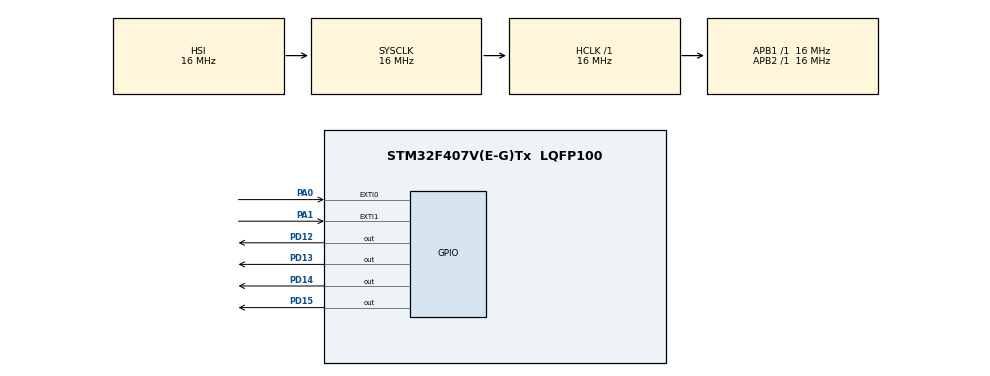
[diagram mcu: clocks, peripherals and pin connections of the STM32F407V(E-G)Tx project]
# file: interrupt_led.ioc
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Mcu.Family=STM32F4
Mcu.Name=STM32F407V(E-G)Tx
Mcu.Package=LQFP100
NVIC.EXTI0_IRQn=true\:0\:0\:false\:false\:true\:true\:true\:true
NVIC.EXTI1_IRQn=true\:0\:0\:false\:false\:true\:true\:true\:true
NVIC.PriorityGroup=NVIC_PRIORITYGROUP_4
PA0-WKUP.GPIO_PuPd=GPIO_PULLDOWN
PA0-WKUP.Signal=GPXTI0
PA1.GPIO_ModeDefaultEXTI=GPIO_MODE_IT_RISING
PA1.GPIO_PuPd=GPIO_PULLDOWN
PA1.Signal=GPXTI1
PA13.Mode=Serial_Wire
PA13.Signal=SYS_JTMS-SWDIO
PA14.Mode=Serial_Wire
PA14.Signal=SYS_JTCK-SWCLK
PD12.GPIO_Speed=GPIO_SPEED_FREQ_VERY_HIGH
PD12.Signal=GPIO_Output
PD13.GPIO_Speed=GPIO_SPEED_FREQ_VERY_HIGH
PD13.Signal=GPIO_Output
PD14.GPIO_Speed=GPIO_SPEED_FREQ_VERY_HIGH
PD14.Signal=GPIO_Output
PD15.GPIO_Speed=GPIO_SPEED_FREQ_VERY_HIGH
PD15.Signal=GPIO_Output
PH0-OSC_IN.Mode=HSE-External-Oscillator
PH0-OSC_IN.Signal=RCC_OSC_IN
PH1-OSC_OUT.Mode=HSE-External-Oscillator
PH1-OSC_OUT.Signal=RCC_OSC_OUT
ProjectManager.HeapSize=0x200
ProjectManager.StackSize=0x400
ProjectManager.TargetToolchain=STM32CubeIDE
RCC.AHBFreq_Value=16000000
RCC.APB1Freq_Value=16000000
RCC.APB2Freq_Value=16000000
RCC.CortexFreq_Value=16000000
RCC.HSE_VALUE=25000000
RCC.HSI_VALUE=16000000
RCC.LSE_VALUE=32768
RCC.SYSCLKFreq_VALUE=16000000
RCC.VCOOutputFreq_Value=192000000
board=custom

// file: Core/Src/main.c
/* USER CODE BEGIN Header */
/**
  ******************************************************************************
  * @file           : main.c
  * @brief          : Main program body
  ******************************************************************************
  * @attention
  *
  * Copyright (c) 2022 STMicroelectronics.
  * All rights reserved.
  *
  * This software is licensed under terms that can be found in the LICENSE file
  * in the root directory of this software component.
  * If no LICENSE file comes with this software, it is provided AS-IS.
  *
  ******************************************************************************
  */
/* USER CODE END Header */
#include "main.h"

/* USER CODE BEGIN PV */
int i=0;
int count = 0;

/* USER CODE END PV */

void SystemClock_Config(void);
static void MX_GPIO_Init(void);

/* USER CODE BEGIN 0 */
void HAL_GPIO_EXTI_Callback(uint16_t GPIO_Pin){
			i++;
				if(i==1)
				{
					count=1000;
				}
				else if(i==2)
				{
					count = 750;
				}
				else if(i==3)
				{
					count = 500;
				}
				else{
					count=250;
					i=0;
				}
	  }

/* USER CODE END 0 */

int main(void)
{

  /* MCU Configuration--------------------------------------------------------*/

  /* Reset of all peripherals, Initializes the Flash interface and the Systick. */
  HAL_Init();

  /* Configure the system clock */
  SystemClock_Config();

  /* Initialize all configured peripherals */
  MX_GPIO_Init();

  /* Infinite loop */
  while (1)
  {

    /* USER CODE BEGIN 3 */
	  while (1)
	   {
	 	  HAL_GPIO_TogglePin(GPIOD, GPIO_PIN_All);
	 	  HAL_Delay(count);

	   }

  /* USER CODE END 3 */
}
}

void SystemClock_Config(void)
{
  RCC_OscInitTypeDef RCC_OscInitStruct = {0};
  RCC_ClkInitTypeDef RCC_ClkInitStruct = {0};

  /** Configure the main internal regulator output voltage
  */
  __HAL_RCC_PWR_CLK_ENABLE();
  __HAL_PWR_VOLTAGESCALING_CONFIG(PWR_REGULATOR_VOLTAGE_SCALE1);

  /** Initializes the RCC Oscillators according to the specified parameters
  * in the RCC_OscInitTypeDef structure.
  */
  RCC_OscInitStruct.OscillatorType = RCC_OSCILLATORTYPE_HSI;
  RCC_OscInitStruct.HSIState = RCC_HSI_ON;
  RCC_OscInitStruct.HSICalibrationValue = RCC_HSICALIBRATION_DEFAULT;
  RCC_OscInitStruct.PLL.PLLState = RCC_PLL_NONE;
  if (HAL_RCC_OscConfig(&RCC_OscInitStruct) != HAL_OK)
  {
    Error_Handler();
  }

  /** Initializes the CPU, AHB and APB buses clocks
  */
  RCC_ClkInitStruct.ClockType = RCC_CLOCKTYPE_HCLK|RCC_CLOCKTYPE_SYSCLK
                              |RCC_CLOCKTYPE_PCLK1|RCC_CLOCKTYPE_PCLK2;
  RCC_ClkInitStruct.SYSCLKSource = RCC_SYSCLKSOURCE_HSI;
  RCC_ClkInitStruct.AHBCLKDivider = RCC_SYSCLK_DIV1;
  RCC_ClkInitStruct.APB1CLKDivider = RCC_HCLK_DIV1;
  RCC_ClkInitStruct.APB2CLKDivider = RCC_HCLK_DIV1;

  if (HAL_RCC_ClockConfig(&RCC_ClkInitStruct, FLASH_LATENCY_0) != HAL_OK)
  {
    Error_Handler();
  }
}

static void MX_GPIO_Init(void)
{
  GPIO_InitTypeDef GPIO_InitStruct = {0};

  /* GPIO Ports Clock Enable */
  __HAL_RCC_GPIOH_CLK_ENABLE();
  __HAL_RCC_GPIOA_CLK_ENABLE();
  __HAL_RCC_GPIOD_CLK_ENABLE();

  /*Configure GPIO pin Output Level */
  HAL_GPIO_WritePin(GPIOD, GPIO_PIN_12|GPIO_PIN_13|GPIO_PIN_14|GPIO_PIN_15, GPIO_PIN_RESET);

  /*Configure GPIO pins : PA0 PA1 */
  GPIO_InitStruct.Pin = GPIO_PIN_0|GPIO_PIN_1;
  GPIO_InitStruct.Mode = GPIO_MODE_IT_RISING;
  GPIO_InitStruct.Pull = GPIO_PULLDOWN;
  HAL_GPIO_Init(GPIOA, &GPIO_InitStruct);

  /*Configure GPIO pins : PD12 PD13 PD14 PD15 */
  GPIO_InitStruct.Pin = GPIO_PIN_12|GPIO_PIN_13|GPIO_PIN_14|GPIO_PIN_15;
  GPIO_InitStruct.Mode = GPIO_MODE_OUTPUT_PP;
  GPIO_InitStruct.Pull = GPIO_NOPULL;
  GPIO_InitStruct.Speed = GPIO_SPEED_FREQ_VERY_HIGH;
  HAL_GPIO_Init(GPIOD, &GPIO_InitStruct);

  /* EXTI interrupt init*/
  HAL_NVIC_SetPriority(EXTI0_IRQn, 0, 0);
  HAL_NVIC_EnableIRQ(EXTI0_IRQn);

  HAL_NVIC_SetPriority(EXTI1_IRQn, 0, 0);
  HAL_NVIC_EnableIRQ(EXTI1_IRQn);

}

void Error_Handler(void)
{
  __disable_irq();

}
